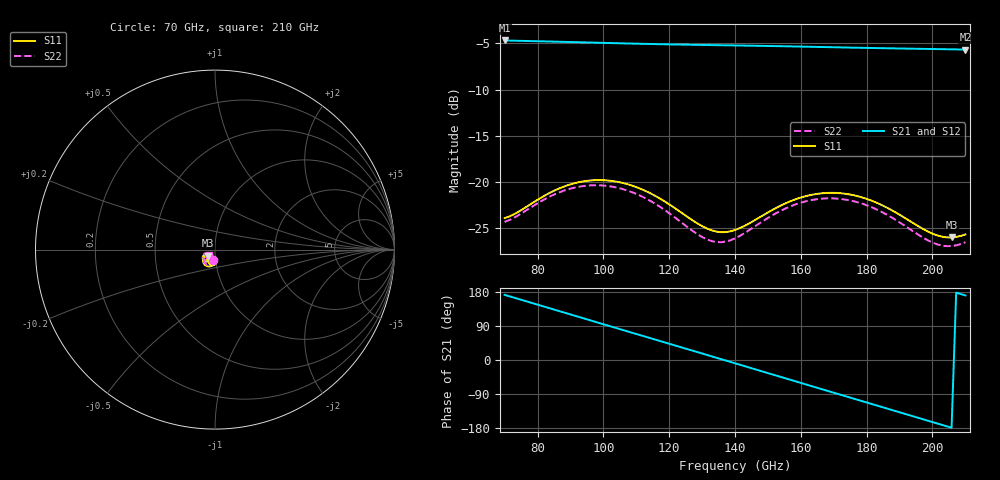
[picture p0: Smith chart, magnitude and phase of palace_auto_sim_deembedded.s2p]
! Created with skrf 1.11.0 (http://scikit-rf.org).
# GHz S DB R 50.0
!freq dBS11 angS11 dBS21 angS21 dBS12 angS12 dBS22 angS22
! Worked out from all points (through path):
!   101 points, 70 GHz to 210 GHz, reference 50 ohm
!   highest |S21| = -4.69 dB at 70 GHz (marker M1); lowest = -5.7 dB at 210 GHz (marker M2)
!   group delay of S21, straight-line fit = 7.17 ps
!   lowest |S11| = -26.0 dB at 205.8 GHz (marker M3), VSWR 1.11, Z = 46.2 - j3.06 ohm
!   |S11| at or under -10 dB: start of sweep to end of sweep
!   |S22| runs from -26.9 to -20.3 dB; largest |S21 - S12| = 6.3e-14
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70  -23.88 -103.6  -4.69 171.8  -4.69 171.8  -24.29 -102.9
81.2  -21.65 -97.6  -4.78 143.0  -4.78 143.0  -22.03 -98.0
88.2  -20.45 -103.9  -4.84 124.9  -4.84 124.9  -20.89 -105.0
93.8  -19.92 -111.3  -4.89 110.4  -4.89 110.4  -20.42 -112.9
99.4  -19.77 -119.5  -4.94 96.0  -4.94 96.0  -20.35 -121.5
105  -20.01 -127.7  -4.99 81.5  -4.99 81.5  -20.66 -130.1
110.6  -20.61 -135.2  -5.04 67.1  -5.04 67.1  -21.36 -137.9
117.6  -21.85 -142.1  -5.09 49.1  -5.09 49.1  -22.75 -144.9
124.6  -23.51 -144.0  -5.14 31.1  -5.14 31.1  -24.59 -146.5
131.6  -25.03 -138.2  -5.18 13.0  -5.18 13.0  -26.20 -139.2
135.8  -25.40 -131.6  -5.20 2.2  -5.20 2.2  -26.48 -131.4
140  -25.17 -124.8  -5.22 -8.7  -5.22 -8.7  -26.07 -124.3
151.2  -23.03 -119.0  -5.29 -37.7  -5.29 -37.7  -23.61 -120.0
158.2  -21.87 -123.4  -5.34 -55.8  -5.34 -55.8  -22.42 -125.6
163.8  -21.33 -129.1  -5.38 -70.3  -5.38 -70.3  -21.89 -132.2
169.4  -21.15 -135.7  -5.42 -84.8  -5.42 -84.8  -21.74 -139.4
175  -21.33 -142.2  -5.46 -99.2  -5.46 -99.2  -21.97 -146.6
180.6  -21.87 -148.1  -5.49 -113.7  -5.49 -113.7  -22.57 -152.9
187.6  -23.02 -152.9  -5.54 -131.8  -5.54 -131.8  -23.81 -158.3
197.4  -25.10 -150.9  -5.60 -157.1  -5.60 -157.1  -26.04 -156.1
205.8  -25.97 -138.9  -5.64 -178.8  -5.64 -178.8  -26.90 -143.3
210  -25.64 -132.6  -5.67 170.3  -5.67 170.3  -26.48 -136.7
